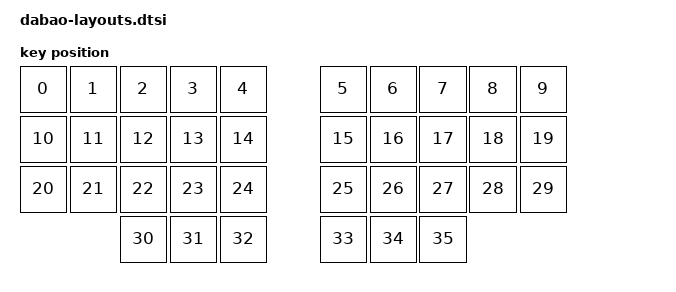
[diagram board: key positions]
/*
 * Physical layout for ZMK Studio.
 *
 * The keys array has one entry per keymap position, in the same order as
 * default_transform in dabao.overlay: positions 0-29 are rows 0-2 (left half
 * columns 0-4, right half columns 5-9), positions 30-35 are the thumb row.
 *
 * Coordinates are centi-keyunits for 1u keys on a 1u grid. The 2u gap between
 * x=400 and x=600 is the space between the halves; the thumbs sit under the
 * inner three columns of each half. These values only drive ZMK Studio's
 * layout preview, so they are safe to refine later.
 */

#include <physical_layouts.dtsi>

/ {
    dabao_physical_layout: dabao_physical_layout {
        compatible = "zmk,physical-layout";
        display-name = "Dabao";

        keys  //                     w   h    x    y     rot    rx    ry
            = <&key_physical_attrs 100 100    0    0       0     0     0>
            , <&key_physical_attrs 100 100  100    0       0     0     0>
            , <&key_physical_attrs 100 100  200    0       0     0     0>
            , <&key_physical_attrs 100 100  300    0       0     0     0>
            , <&key_physical_attrs 100 100  400    0       0     0     0>
            , <&key_physical_attrs 100 100  600    0       0     0     0>
            , <&key_physical_attrs 100 100  700    0       0     0     0>
            , <&key_physical_attrs 100 100  800    0       0     0     0>
            , <&key_physical_attrs 100 100  900    0       0     0     0>
            , <&key_physical_attrs 100 100 1000    0       0     0     0>

            , <&key_physical_attrs 100 100    0  100       0     0     0>
            , <&key_physical_attrs 100 100  100  100       0     0     0>
            , <&key_physical_attrs 100 100  200  100       0     0     0>
            , <&key_physical_attrs 100 100  300  100       0     0     0>
            , <&key_physical_attrs 100 100  400  100       0     0     0>
            , <&key_physical_attrs 100 100  600  100       0     0     0>
            , <&key_physical_attrs 100 100  700  100       0     0     0>
            , <&key_physical_attrs 100 100  800  100       0     0     0>
            , <&key_physical_attrs 100 100  900  100       0     0     0>
            , <&key_physical_attrs 100 100 1000  100       0     0     0>

            , <&key_physical_attrs 100 100    0  200       0     0     0>
            , <&key_physical_attrs 100 100  100  200       0     0     0>
            , <&key_physical_attrs 100 100  200  200       0     0     0>
            , <&key_physical_attrs 100 100  300  200       0     0     0>
            , <&key_physical_attrs 100 100  400  200       0     0     0>
            , <&key_physical_attrs 100 100  600  200       0     0     0>
            , <&key_physical_attrs 100 100  700  200       0     0     0>
            , <&key_physical_attrs 100 100  800  200       0     0     0>
            , <&key_physical_attrs 100 100  900  200       0     0     0>
            , <&key_physical_attrs 100 100 1000  200       0     0     0>

            , <&key_physical_attrs 100 100  200  300       0     0     0>
            , <&key_physical_attrs 100 100  300  300       0     0     0>
            , <&key_physical_attrs 100 100  400  300       0     0     0>
            , <&key_physical_attrs 100 100  600  300       0     0     0>
            , <&key_physical_attrs 100 100  700  300       0     0     0>
            , <&key_physical_attrs 100 100  800  300       0     0     0>
            ;
    };
};
